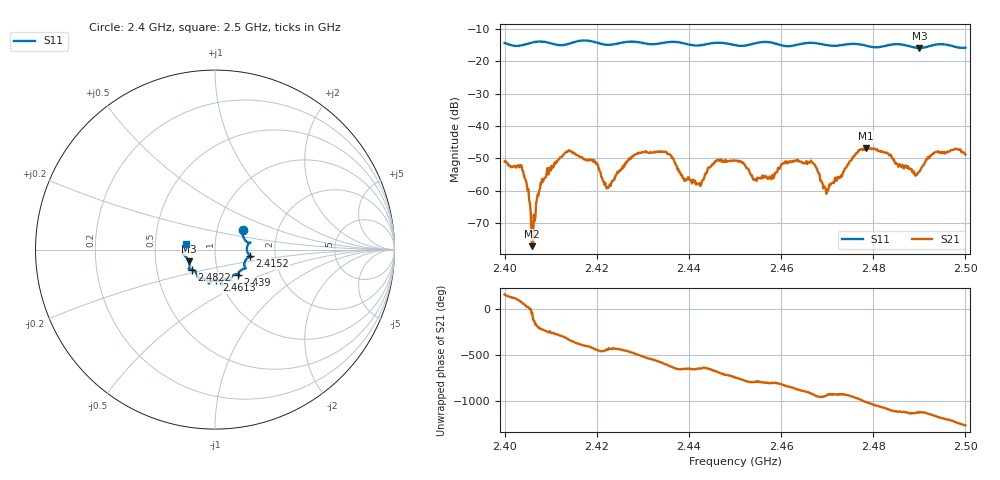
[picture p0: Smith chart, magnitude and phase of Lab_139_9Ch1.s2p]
# Hz S RI R 50
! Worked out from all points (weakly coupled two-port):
!   601 points, 2.4 GHz to 2.5 GHz, reference 50 ohm
!   highest |S21| = -46.92 dB at 2.4783 GHz (marker M1); lowest = -77.1 dB at 2.406 GHz (marker M2)
!   lowest |S11| = -15.9 dB at 2.49 GHz (marker M3), VSWR 1.38, Z = 36.9 - j4.87 ohm
!   |S11| at or under -10 dB: start of sweep to end of sweep
!   S12 and S22 are empty: the file has one direction only
!   S11 on the Smith chart (normalised r, x): 2.4 GHz: 1.33, +0.31; 2.4152 GHz: 1.48, -0.11; 2.439 GHz: 1.24, -0.36; 2.4613 GHz: 0.96, -0.34; 2.4822 GHz: 0.76, -0.17; 2.5 GHz: 0.72, +0.05
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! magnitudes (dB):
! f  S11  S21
! 2.4 GHz  -14.4  -51.0
! 2.4038 GHz  -15.0  -53.6
! 2.406 GHz  -14.2  -77.1
! 2.4093 GHz  -14.2  -53.0
! 2.4152 GHz  -14.1  -48.4
! 2.4167 GHz  -13.6  -49.6
! 2.4225 GHz  -14.9  -59.1
! 2.4282 GHz  -14.0  -49.0
! 2.4333 GHz  -14.6  -47.9
! 2.439 GHz  -14.5  -56.8
! 2.4422 GHz  -15.1  -58.0
! 2.45 GHz  -15.0  -50.7
! 2.4543 GHz  -14.4  -56.6
! 2.4613 GHz  -15.3  -51.6
! 2.4667 GHz  -14.3  -51.2
! 2.4698 GHz  -15.0  -60.9
! 2.4783 GHz  -15.1  -46.9
! 2.4822 GHz  -15.4  -48.1
! 2.4833 GHz  -15.0  -48.8
! 2.49 GHz  -15.9  -54.1
! 2.4935 GHz  -14.9  -48.1
! 2.5 GHz  -15.8  -48.8
